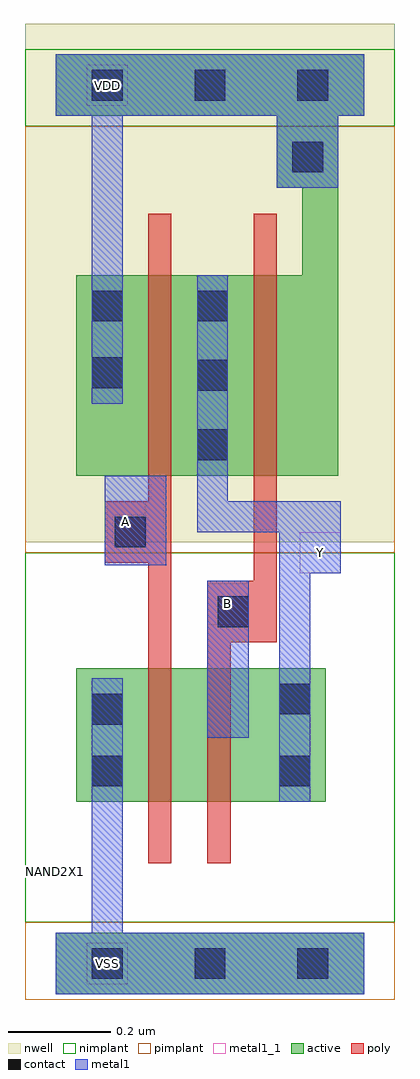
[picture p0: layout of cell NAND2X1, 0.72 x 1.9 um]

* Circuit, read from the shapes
.subckt NAND2X1 A B VDD VSS Y
M1 n1 A VSS VSS nfet w=0.26u l=0.045u
M2 Y B n1 VSS nfet w=0.26u l=0.045u
M3 Y A VDD VDD pfet w=0.39u l=0.045u
M4 VDD B Y VDD pfet w=0.39u l=0.045u
.ends

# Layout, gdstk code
import gdstk
lib = gdstk.Library(unit=1e-6, precision=5e-10)
def R(c, l, rs):  # rectangles x0, y0, x1, y1
    for r in rs: c.add(gdstk.rectangle(r[:2], r[2:], *l))
def A(c, l, x, y, w, h, nx, ny, dx, dy):  # array of equal rectangles
    R(c, l, [(x+i*dx, y+j*dy, x+i*dx+w, y+j*dy+h) for i in range(nx) for j in range(ny)])
def P(c, l, *ps):  # polygons
    for p in ps: c.add(gdstk.Polygon(p, *l))
active = (1, 0)
nwell = (2, 0)
poly = (3, 0)
nimplant = (4, 0)
pimplant = (5, 0)
contact = (6, 0)
metal1 = (7, 0)
metal1_1 = (7, 1)

nand2x1 = lib.new_cell('NAND2X1')
R(nand2x1, active, [(0,-0.06,0.6,0.06), (0.04,0.315,0.525,0.575)])
P(nand2x1, active, [(0.6,1.77),(0,1.77),(0,1.65),(0.43,1.65),(0.43,1.51),(0.48,1.51),(0.48,1.34),(0.04,1.34),(0.04,0.95),(0.55,0.95),(0.55,1.65),(0.6,1.65)])
R(nand2x1, nwell, [(-0.06,0.82,0.66,1.83)])
P(nand2x1, poly, [(0.18,1.46),(0.225,1.46),(0.225,0.195),(0.18,0.195),(0.18,0.78),(0.095,0.78),(0.095,0.9),(0.18,0.9)],
  [(0.385,1.46),(0.43,1.46),(0.43,0.625),(0.34,0.625),(0.34,0.195),(0.295,0.195),(0.295,0.745),(0.385,0.745)])
R(nand2x1, nimplant, [(-0.06,0.08,0.66,0.8), (-0.06,1.63,0.66,1.78)])
R(nand2x1, pimplant, [(-0.06,-0.07,0.66,0.08), (-0.06,0.8,0.66,1.63)])
A(nand2x1, contact, 0.07, -0.03, 0.06, 0.06, 3, 2, 0.2, 1.71)
A(nand2x1, contact, 0.275, 0.98, 0.06, 0.06, 1, 3, 0, 0.135)
R(nand2x1, contact, [(0.07,0.345,0.13,0.405), (0.435,0.345,0.495,0.405), (0.07,0.465,0.13,0.525), (0.435,0.485,0.495,0.545), (0.315,0.655,0.375,0.715), (0.115,0.81,0.175,0.87), (0.07,1.12,0.13,1.18), (0.07,1.25,0.13,1.31), (0.46,1.54,0.52,1.6)])
R(nand2x1, metal1, [(0.295,0.44,0.375,0.745), (0.095,0.775,0.215,0.95), (0.43,1.51,0.55,1.65)])
P(nand2x1, metal1, [(0.07,0.555),(0.13,0.555),(0.13,0.06),(0.6,0.06),(0.6,-0.06),(0,-0.06),(0,0.06),(0.07,0.06)],
  [(0,1.77),(0.6,1.77),(0.6,1.65),(0.13,1.65),(0.13,1.09),(0.07,1.09),(0.07,1.65),(0,1.65)],
  [(0.275,1.34),(0.335,1.34),(0.335,0.9),(0.555,0.9),(0.555,0.76),(0.495,0.76),(0.495,0.315),(0.435,0.315),(0.435,0.84),(0.275,0.84)])
R(nand2x1, metal1_1, [(0.06,-0.04,0.14,0.04), (0.295,0.66,0.375,0.74), (0.475,0.76,0.555,0.84), (0.095,0.82,0.175,0.9), (0.06,1.67,0.14,1.75)])
nand2x1.add(gdstk.Label('Y', (0.515,0.8), layer=7, texttype=1))
nand2x1.add(gdstk.Label('VSS', (0.1,0), layer=7, texttype=1))
nand2x1.add(gdstk.Label('A', (0.135,0.86), layer=7, texttype=1))
nand2x1.add(gdstk.Label('B', (0.335,0.7), layer=7, texttype=1))
nand2x1.add(gdstk.Label('VDD', (0.1,1.71), layer=7, texttype=1))
nand2x1.add(gdstk.Label('NAND2X1', (0,0.18), layer=63, texttype=0))

lib.write_gds('NAND2X1.gds')
